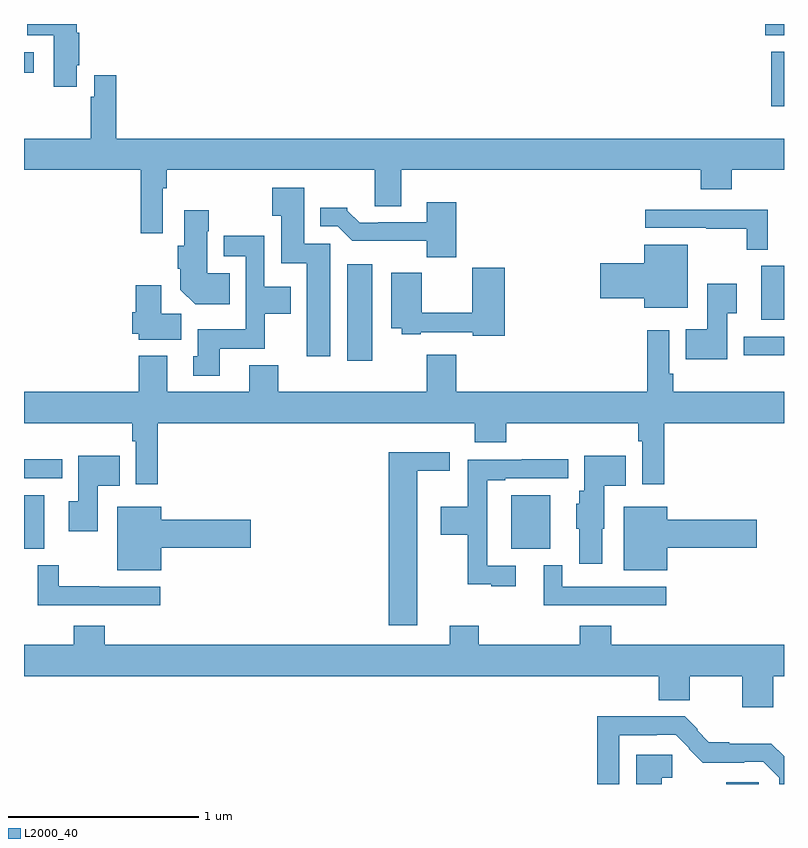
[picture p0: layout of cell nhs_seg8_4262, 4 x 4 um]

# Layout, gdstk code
import gdstk
lib = gdstk.Library(unit=1e-6, precision=1e-09)
def R(c, l, rs):  # rectangles x0, y0, x1, y1
    for r in rs: c.add(gdstk.rectangle(r[:2], r[2:], *l))
def P(c, l, *ps):  # polygons
    for p in ps: c.add(gdstk.Polygon(p, *l))
L2000_40 = (2000, 40)

nhs_seg8_4262 = lib.new_cell('nhs_seg8_4262')
R(nhs_seg8_4262, L2000_40, [(374.696,1147.9,374.866,1147.908), (371,1149.137,371.107,1149.421), (373.565,1149.137,373.771,1149.421), (371,1149.51,371.2,1149.608), (372.701,1150.128,372.832,1150.636), (374.787,1150.157,375,1150.254), (374.879,1150.343,375,1150.627), (374.933,1151.466,375,1151.755), (371,1151.643,371.05,1151.751), (374.901,1151.84,375,1151.9)])
P(nhs_seg8_4262, L2000_40, [(371.278,1151.683),(371.291,1151.683),(371.291,1151.855),(371.278,1151.855),(371.278,1151.9),(371.017,1151.9),(371.017,1151.84),(371.156,1151.84),(371.156,1151.571),(371.278,1151.571)],
  [(371.37,1151.629),(371.37,1151.516),(371.35,1151.516),(371.35,1151.296),(371,1151.296),(371,1151.132),(371.614,1151.132),(371.614,1150.8),(371.73,1150.8),(371.73,1151.036),(371.75,1151.036),(371.75,1151.132),(372.845,1151.132),(372.845,1150.942),(372.985,1150.942),(372.985,1151.132),(374.561,1151.132),(374.561,1151.03),(374.726,1151.03),(374.726,1151.132),(375,1151.132),(375,1151.296),(371.486,1151.296),(371.486,1151.629)],
  [(372.613,1150.743),(372.475,1150.743),(372.475,1151.038),(372.307,1151.038),(372.307,1150.891),(372.353,1150.891),(372.353,1150.64),(372.488,1150.64),(372.488,1150.152),(372.613,1150.152)],
  [(373.274,1150.963),(373.121,1150.963),(373.121,1150.857),(372.865,1150.857),(372.865,1150.854),(372.766,1150.854),(372.702,1150.918),(372.702,1150.933),(372.56,1150.933),(372.56,1150.836),(372.651,1150.836),(372.727,1150.76),(373.119,1150.76),(373.119,1150.673),(373.274,1150.673)],
  [(374.914,1150.923),(374.271,1150.923),(374.271,1150.827),(374.59,1150.827),(374.59,1150.822),(374.805,1150.822),(374.805,1150.712),(374.914,1150.712)],
  [(372.083,1150.588),(371.965,1150.588),(371.965,1150.808),(371.973,1150.808),(371.973,1150.921),(371.843,1150.921),(371.843,1150.734),(371.81,1150.734),(371.81,1150.612),(371.822,1150.612),(371.822,1150.502),(371.9,1150.424),(372.083,1150.424)],
  [(372.031,1150.19),(372.267,1150.19),(372.267,1150.376),(372.403,1150.376),(372.403,1150.516),(372.264,1150.516),(372.264,1150.786),(372.051,1150.786),(372.051,1150.677),(372.168,1150.677),(372.168,1150.294),(371.915,1150.294),(371.915,1150.152),(371.891,1150.152),(371.891,1150.05),(372.031,1150.05)],
  [(374.494,1150.738),(374.264,1150.738),(374.264,1150.64),(374.034,1150.64),(374.034,1150.457),(374.264,1150.457),(374.264,1150.406),(374.494,1150.406)],
  [(373.529,1150.618),(373.358,1150.618),(373.358,1150.379),(373.094,1150.379),(373.094,1150.591),(372.932,1150.591),(372.932,1150.298),(372.987,1150.298),(372.987,1150.266),(373.087,1150.266),(373.087,1150.278),(373.362,1150.278),(373.362,1150.258),(373.529,1150.258)],
  [(374.701,1150.378),(374.752,1150.378),(374.752,1150.534),(374.597,1150.534),(374.597,1150.294),(374.482,1150.294),(374.482,1150.136),(374.701,1150.136)],
  [(371.827,1150.376),(371.722,1150.376),(371.722,1150.525),(371.588,1150.525),(371.588,1150.383),(371.57,1150.383),(371.57,1150.269),(371.604,1150.269),(371.604,1150.238),(371.827,1150.238)],
  [(371.705,1149.8),(373.373,1149.8),(373.373,1149.698),(373.538,1149.698),(373.538,1149.8),(374.233,1149.8),(374.233,1149.704),(374.253,1149.704),(374.253,1149.477),(374.369,1149.477),(374.369,1149.8),(375,1149.8),(375,1149.964),(374.417,1149.964),(374.417,1150.06),(374.397,1150.06),(374.397,1150.288),(374.281,1150.288),(374.281,1149.964),(373.274,1149.964),(373.274,1150.159),(373.121,1150.159),(373.121,1149.964),(372.338,1149.964),(372.338,1150.105),(372.185,1150.105),(372.185,1149.964),(371.755,1149.964),(371.755,1150.153),(371.603,1150.153),(371.603,1149.964),(371,1149.964),(371,1149.8),(371.569,1149.8),(371.569,1149.704),(371.589,1149.704),(371.589,1149.477),(371.705,1149.477)],
  [(373.069,1149.548),(373.24,1149.548),(373.24,1149.646),(372.92,1149.646),(372.92,1148.736),(373.069,1148.736)],
  [(374.044,1149.243),(374.053,1149.243),(374.053,1149.47),(374.168,1149.47),(374.168,1149.628),(373.949,1149.628),(373.949,1149.444),(373.922,1149.444),(373.922,1149.375),(373.907,1149.375),(373.907,1149.243),(373.922,1149.243),(373.922,1149.06),(374.044,1149.06)],
  [(371.389,1149.47),(371.504,1149.47),(371.504,1149.628),(371.285,1149.628),(371.285,1149.387),(371.235,1149.387),(371.235,1149.231),(371.389,1149.231)],
  [(373.588,1149.048),(373.437,1149.048),(373.437,1149.498),(373.534,1149.498),(373.534,1149.51),(373.864,1149.51),(373.864,1149.608),(373.621,1149.608),(373.621,1149.606),(373.336,1149.606),(373.336,1149.358),(373.194,1149.358),(373.194,1149.211),(373.336,1149.211),(373.336,1148.951),(373.46,1148.951),(373.46,1148.94),(373.588,1148.94)],
  [(374.386,1149.143),(374.857,1149.143),(374.857,1149.29),(374.386,1149.29),(374.386,1149.358),(374.156,1149.358),(374.156,1149.026),(374.386,1149.026)],
  [(371.722,1149.143),(372.193,1149.143),(372.193,1149.29),(371.722,1149.29),(371.722,1149.358),(371.492,1149.358),(371.492,1149.026),(371.722,1149.026)],
  [(374.38,1148.937),(373.833,1148.937),(373.833,1149.052),(373.736,1149.052),(373.736,1148.841),(374.38,1148.841)],
  [(371.716,1148.937),(371.396,1148.937),(371.396,1148.942),(371.182,1148.942),(371.182,1149.052),(371.072,1149.052),(371.072,1148.841),(371.716,1148.841)],
  [(374.944,1148.468),(375,1148.468),(375,1148.632),(374.09,1148.632),(374.09,1148.734),(373.925,1148.734),(373.925,1148.632),(373.394,1148.632),(373.394,1148.734),(373.241,1148.734),(373.241,1148.632),(371.426,1148.632),(371.426,1148.734),(371.261,1148.734),(371.261,1148.632),(371,1148.632),(371,1148.468),(374.342,1148.468),(374.342,1148.342),(374.503,1148.342),(374.503,1148.468),(374.78,1148.468),(374.78,1148.304),(374.944,1148.304)],
  [(374.133,1148.156),(374.33,1148.156),(374.33,1148.16),(374.43,1148.16),(374.502,1148.088),(374.499,1148.085),(374.573,1148.012),(374.792,1148.012),(374.792,1148.016),(374.892,1148.016),(374.976,1147.932),(374.976,1147.9),(375,1147.9),(375,1148.046),(374.933,1148.113),(374.713,1148.113),(374.713,1148.121),(374.605,1148.121),(374.543,1148.183),(374.547,1148.187),(374.477,1148.257),(374.017,1148.257),(374.017,1147.9),(374.133,1147.9)],
  [(374.356,1147.934),(374.413,1147.934),(374.413,1148.054),(374.222,1148.054),(374.222,1147.9),(374.356,1147.9)])

lib.write_gds('nhs_seg8_4262.gds')
